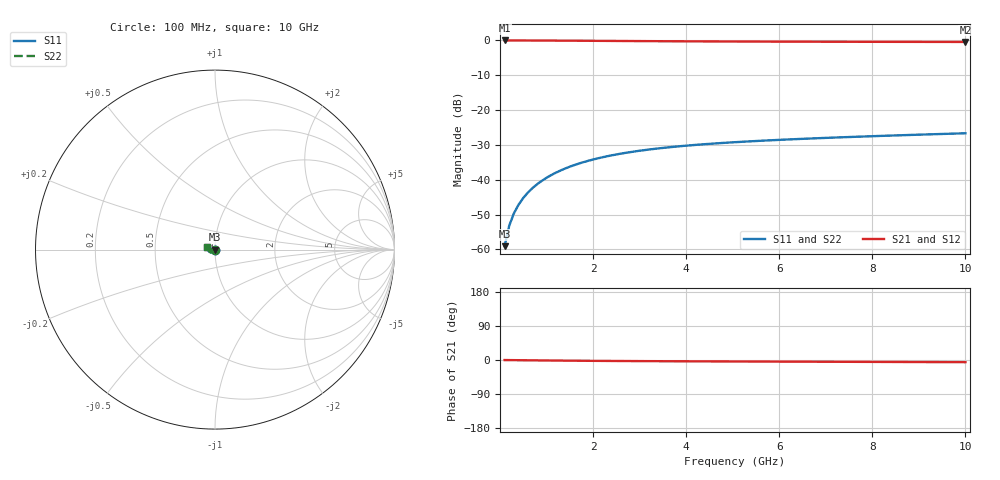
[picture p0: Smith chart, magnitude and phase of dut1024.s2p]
! Touchstone file exported from HFSS 2024.1.0
!  File:  C:/UserFiles/LocalFiles/RDL_TSV_Batchsim/temp_TSV1_1024_1780060135.aedt
!  Generated:  09:15:41 PM May 29, 2026
!  Design:  TSV1
!  Project:  temp_TSV1_1024_1780060135
!  Setup:  Setup1
!  Solution:  Sweep
! Variables:
!  dtsv = 8.65um
!  hbump = 3um
!  htsv = 89.1um
!  lrdl = 252.1521522um
!  p = 40
!  p1 = 53.67um
!  t = 500um
!  trdl = 3um
!  wrdl = 24.89489489um
# GHz S MA R 50.000000
! Terminal data exported
! Port[1] = TSV22_T1
! Port[2] = TSV22_T2
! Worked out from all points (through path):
!   100 points, 100 MHz to 10 GHz, reference 50 ohm
!   highest |S21| = 0.00 dB at 100 MHz (marker M1); lowest = -0.4 dB at 10 GHz (marker M2)
!   lowest |S11| = -59.1 dB at 100 MHz (marker M3), VSWR 1.00, Z = 50 - j0.11 ohm
!   |S11| at or under -10 dB: start of sweep to end of sweep
!   |S22| runs from -59.1 to -26.7 dB; largest |S21 - S12| = 7.4e-15
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0.1  0.001112 -81.3  0.9998 -0.1  0.9998 -0.1  0.001112 -81.3
! Gamma 0 0 0 0
! Port Impedance 50 0 50 0
0.2  0.002201 -88.4  0.9996 -0.3  0.9996 -0.3  0.002201 -88.4
0.3  0.003295 -92.1  0.9994 -0.4  0.9994 -0.4  0.003295 -92.1
0.4  0.004385 -95.0  0.9991 -0.5  0.9991 -0.5  0.004385 -95.0
0.5  0.005467 -97.6  0.9988 -0.6  0.9988 -0.6  0.005467 -97.6
0.6  0.006537 -99.9  0.9984 -0.8  0.9984 -0.8  0.006537 -99.9
0.7  0.007594 -102.1  0.9979 -0.9  0.9979 -0.9  0.007594 -102.1
0.8  0.008636 -104.3  0.9974 -1.0  0.9974 -1.0  0.008636 -104.3
0.9  0.009661 -106.4  0.9968 -1.1  0.9968 -1.1  0.009661 -106.4
1.1  0.01165 -110.4  0.9954 -1.4  0.9954 -1.4  0.01165 -110.4
1.4  0.01448 -116.1  0.9931 -1.7  0.9931 -1.7  0.01448 -116.1
1.6  0.01626 -119.7  0.9914 -1.9  0.9914 -1.9  0.01626 -119.7
1.8  0.01793 -123.2  0.9897 -2.1  0.9897 -2.1  0.01793 -123.2
2.1  0.02027 -128.2  0.9869 -2.3  0.9869 -2.3  0.02027 -128.2
2.5  0.02306 -134.4  0.9833 -2.6  0.9833 -2.6  0.02306 -134.4
2.9  0.02551 -140.1  0.9799 -2.9  0.9799 -2.9  0.02551 -140.1
3.4  0.02816 -146.6  0.9759 -3.1  0.9759 -3.1  0.02816 -146.6
4.2  0.03164 -155.8  0.9703 -3.5  0.9703 -3.5  0.03164 -155.8
5.1  0.03477 -164.7  0.9654 -3.9  0.9654 -3.9  0.03477 -164.7
6.7  0.03916 -177.7  0.9592 -4.5  0.9592 -4.5  0.03916 -177.7
8.4  0.04307 171.3  0.9548 -5.2  0.9548 -5.2  0.04307 171.3
10  0.04649 162.6  0.952 -5.8  0.952 -5.8  0.04649 162.6
